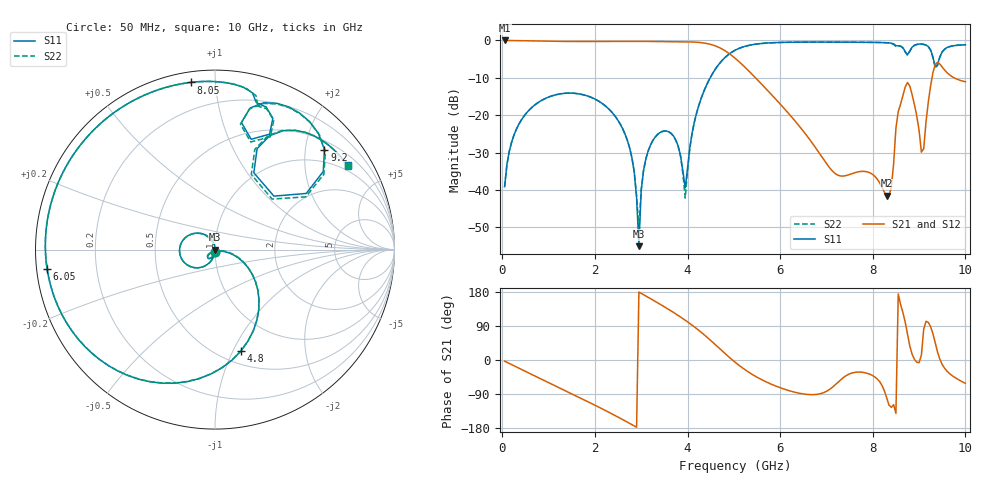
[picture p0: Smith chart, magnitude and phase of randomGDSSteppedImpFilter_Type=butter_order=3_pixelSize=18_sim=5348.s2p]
! freq	dB(S11)	phase(S11)	dB(S12)	phase(S12)
!  dB(S21)	phase(S21)	dB(S22)	phase(S22)
!S-par simulation data
#  GHz  S  DB  R 50
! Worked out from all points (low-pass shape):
!   200 points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, 50 MHz to 10 GHz, reference 50 ohm
!   highest |S21| = -0.01 dB at 50 MHz (marker M1); lowest = -41.5 dB at 8.3 GHz (marker M2)
!   |S21| within 3 dB of the highest: start of sweep to 4.841 GHz
!   lowest |S11| = -55.0 dB at 2.95 GHz (marker M3), VSWR 1.00, Z = 50.2 - j0.053 ohm
!   |S11| at or under -10 dB: start of sweep to 4.489 GHz
!   |S22| runs from -50.1 to -0.4 dB; largest |S21 - S12| = 0
!   S11 on the Smith chart (normalised r, x): 50 MHz: 1.00, -0.02; 4.8 GHz: 0.63, -1.07; 6.05 GHz: 0.03, -0.06; 8.05 GHz: 0.05, +0.86; 9.2 GHz: 0.69, +2.41; 10 GHz: 0.81, +3.25
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0.05  -39.11 -91.8  -0.01 -3.1  -0.01 -3.1  -39.11 -91.8
0.55  -19.01 -123.5  -0.10 -33.0  -0.10 -33.0  -19.01 -123.4
1.75  -14.52 165.4  -0.28 -103.9  -0.28 -103.9  -14.52 165.8
2.7  -26.70 105.3  -0.22 -163.9  -0.22 -163.9  -26.67 108.8
2.95  -54.99 -17.2  -0.23 179.3  -0.23 179.3  -50.07 -166.9
3.05  -34.77 -94.8  -0.25 172.4  -0.25 172.4  -34.76 -104.9
3.4  -24.66 -119.8  -0.30 147.7  -0.30 147.7  -24.68 -123.1
3.75  -26.70 -140.4  -0.34 121.4  -0.34 121.4  -26.77 -144.5
3.95  -39.43 -79.8  -0.37 105.0  -0.37 105.0  -42.13 -81.3
4.2  -19.20 -16.2  -0.48 82.5  -0.48 82.5  -19.23 -15.0
4.8  -4.68 -75.7  -2.68 18.1  -2.68 18.1  -4.68 -75.8
5.05  -2.48 -101.9  -4.99 -8.1  -4.99 -8.1  -2.48 -102.1
6.05  -0.52 -173.3  -17.67 -75.3  -17.67 -75.3  -0.52 -173.6
6.7  -0.45 155.8  -27.55 -91.5  -27.55 -91.5  -0.45 155.4
8.05  -0.53 98.2  -36.39 -45.3  -36.39 -45.3  -0.53 97.6
8.3  -0.61 86.0  -41.51 -99.5  -41.51 -99.5  -0.63 85.0
8.35  -0.66 83.2  -41.50 -118.9  -41.50 -118.9  -0.68 82.1
8.7  -2.96 64.7  -12.46 100.2  -12.46 100.2  -3.10 63.9
9.05  -0.96 58.3  -29.85 12.8  -29.85 12.8  -0.99 57.9
9.2  -1.66 42.4  -16.37 99.1  -16.37 99.1  -1.70 41.5
9.4  -6.39 63.2  -5.84 20.3  -5.84 20.3  -6.66 64.2
10  -1.16 32.4  -11.06 -61.5  -11.06 -61.5  -1.17 32.4
